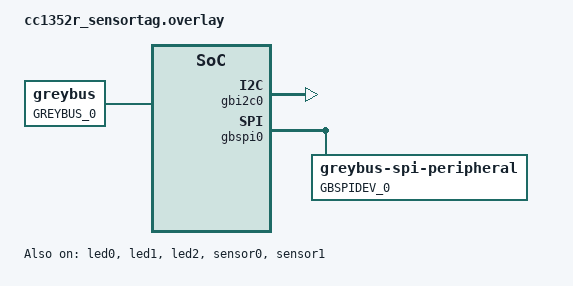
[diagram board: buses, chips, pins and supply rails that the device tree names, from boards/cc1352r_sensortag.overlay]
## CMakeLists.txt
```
# SPDX-License-Identifier: BSD-3-Clause

cmake_minimum_required(VERSION 3.13.1)
include($ENV{ZEPHYR_BASE}/cmake/app/boilerplate.cmake NO_POLICY_SCOPE)
project(greybus-uart)

zephyr_include_directories(../../../../../include)

target_sources(app PRIVATE src/main.c)
```

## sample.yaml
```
sample:
  description: Use Linux to blink an LED on a remote device using a serial
    connection
  name: Greybus UART Blinky Demo
tests:
  sample.greybus.uart:
    harness: greybus_uart
    platform_whitelist: qemu_x86 cc1352r1_launchxl nrf52840dk_nrf52840
    tags: greybus uart
  sample.greybus.uart.cc1352r1_launchxl:
    extra_args: OVERLAY_CONFIG="cc1352r1_launchxl.conf"
  sample.greybus.uart.nrf52840dk_nrf52840:
    extra_args: OVERLAY_CONFIG="nrf52840dk_nrf52840.conf"
```

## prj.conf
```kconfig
CONFIG_HEAP_MEM_POOL_SIZE=16384
CONFIG_NEWLIB_LIBC=y

# Serial (required for XPORT_UART)
CONFIG_SERIAL=y

# Greybus options and dependencies
CONFIG_GREYBUS=y
CONFIG_GREYBUS_CONTROL=y
CONFIG_GREYBUS_XPORT_UART=y
CONFIG_PTHREAD_IPC=y
CONFIG_PTHREAD_DYNAMIC_STACK=y
CONFIG_THREAD_NAME=y
CONFIG_MAX_PTHREAD_COUNT=16

# Console options
CONFIG_CONSOLE_SUBSYS=y
CONFIG_CONSOLE_GETCHAR=y

# Kernel options
CONFIG_MAIN_STACK_SIZE=1024
CONFIG_ENTROPY_GENERATOR=y
CONFIG_INIT_STACKS=y

# Logging
CONFIG_LOG=y
CONFIG_PRINTK=y

# Pthread options
CONFIG_MAX_PTHREAD_COUNT=16
CONFIG_RING_BUFFER=y
```

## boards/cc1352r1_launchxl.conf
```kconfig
CONFIG_GPIO=y
CONFIG_GREYBUS_GPIO=y

CONFIG_I2C=y
CONFIG_GREYBUS_I2C=y

CONFIG_GREYBUS_XPORT_UART_DEV="UART_1"
```

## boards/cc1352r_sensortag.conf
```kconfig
CONFIG_GPIO=y
CONFIG_I2C=y
CONFIG_GREYBUS_I2C=y
CONFIG_SPI=y
CONFIG_GREYBUS_SPI=y
CONFIG_SPI_0=y
```

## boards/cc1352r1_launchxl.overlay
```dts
/*
 * Copyright (c) 2020 Friedt Professional Engineering Services, Inc
 *
 * SPDX-License-Identifier: BSD-3-Clause
 */
 #include <dt-bindings/greybus/greybus.h>
 #include <dt-bindings/greybus/spi.h>

/ {
	resources {
		compatible = "test,greybus-i2c";
		test-i2c = <&i2c0>; 
	};

	greybus0: greybus0 {
		compatible = "zephyr,greybus";
		label = "GREYBUS_0";
		greybus;
	};
};

&flash0 {
	status = "okay";
};

&led0 {
	status = "okay";
};

&led1 {
	status = "okay";
};

&greybus0 {
	status = "okay";
	/* defaults in effect, so this isn't necessary */
	version-major = <GREYBUS_VERSION_MAJOR>;
	version-minor = <GREYBUS_VERSION_MINOR>;

	gbstring1: gbstring1 {
		status = "okay";
		compatible = "zephyr,greybus-string";
		/* NB: string id 0 is invalid */
		id = <1>;
		greybus-string = "Zephyr Project RTOS";
	};

	gbstring2: gbstring2 {
		status = "okay";
		compatible = "zephyr,greybus-string";
		id = <2>;
		greybus-string = "Greybus Service Sample Application";
	};

	gbinterface0 {
		status = "okay";
		compatible = "zephyr,greybus-interface";
		vendor-string-id = <&gbstring1>;
		product-string-id = <&gbstring2>;
		greybus-interface;
	};

	gbbundle0 {
		status = "okay";
		compatible = "zephyr,greybus-bundle";
		greybus-bundle;
		/* Control Bundle 0
		 * Note: control bundle 0 and control cport 0 are optional
		 * Since instance numbers automatically begin at 0, the id
		 * is a mandatory field for bundles and cports.
		 */
		id = <CONTROL_BUNDLE_ID>;
		bundle-class = <BUNDLE_CLASS_CONTROL>;

		gbcontrol0 {
			status = "okay";
			compatible = "zephyr,greybus-control";
			greybus-controller;
			/* Control CPort 0
			 * Note: control bundle 0 and control cport 0 are optional
			 * Since instance numbers automatically begin at 0, the id
			 * is a mandatory field for bundles and cports.
			 */
			id = <CONTROL_CPORT_ID>;
			cport-protocol = <CPORT_PROTOCOL_CONTROL>; 
		};
	};

	gbbundle1 {
		status = "okay";
		compatible = "zephyr,greybus-bundle";
		greybus-bundle;
		id = <1>;
		bundle-class = <BUNDLE_CLASS_BRIDGED_PHY>;		
				
		gbgpio0 {
			status = "okay";
			compatible = "zephyr,greybus-gpio-controller";
			greybus-gpio-controller = <&gpio0>;
			/* GPIO is CPort 1 in this case */
			id = <1>;
			cport-protocol = <CPORT_PROTOCOL_GPIO>;
		};
	};
	
	gbbundle2 {
		status = "okay";
		compatible = "zephyr,greybus-bundle";
		greybus-bundle;
		id = <2>;
		bundle-class = <BUNDLE_CLASS_BRIDGED_PHY>;		
				
		gbi2c0 {
			status = "okay";
			compatible = "zephyr,greybus-i2c-controller";
			greybus-i2c-controller = <&i2c0>;
			/* I2C is CPort 2 in this case */
			id = <2>;
			cport-protocol = <CPORT_PROTOCOL_I2C>;
		};
	};
	
};
```

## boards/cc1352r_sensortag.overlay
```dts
/*
 * Copyright (c) 2020 Friedt Professional Engineering Services, Inc
 *
 * SPDX-License-Identifier: BSD-3-Clause
 */
 #include <dt-bindings/greybus/greybus.h>
 #include <dt-bindings/greybus/spi.h>

/ {
	resources {
		compatible = "test,greybus-i2c";
		test-i2c = <&i2c0>; 
	};

	greybus0: greybus0 {
		compatible = "zephyr,greybus";
		label = "GREYBUS_0";
		greybus;
	};
};

&flash0 {
	status = "okay";
};

&led0 {
	status = "okay";
};

&led1 {
	status = "okay";
};

&led2 {
	status = "okay";
};

&sensor0 {
	status = "okay";
};

&sensor1 {
	status = "okay";
};

&greybus0 {
	label = "GREYBUS_0";
	status = "okay";
	/* defaults in effect, so this isn't necessary */
	version-major = <GREYBUS_VERSION_MAJOR>;
	version-minor = <GREYBUS_VERSION_MINOR>;

	gbstring1: gbstring1 {
		label = "GBSTRING_1";
		status = "okay";
		compatible = "zephyr,greybus-string";
		/* NB: string id 0 is invalid */
		id = <1>;
		greybus-string = "Zephyr Project RTOS";
	};

	gbstring2: gbstring2 {
		label = "GBSTRING_2";
		status = "okay";
		compatible = "zephyr,greybus-string";
		id = <2>;
		greybus-string = "Greybus Service Sample Application";
	};

	gbinterface0 {
		label = "GBINTERFACE_0";
		status = "okay";
		compatible = "zephyr,greybus-interface";
		vendor-string-id = <&gbstring1>;
		product-string-id = <&gbstring2>;
		greybus-interface;
	};

	gbbundle0 {
		label = "GBBUNDLE_0";
		status = "okay";
		compatible = "zephyr,greybus-bundle";
		greybus-bundle;
		/* Control Bundle 0
		 * Note: control bundle 0 and control cport 0 are optional
		 * Since instance numbers automatically begin at 0, the id
		 * is a mandatory field for bundles and cports.
		 */
		id = <CONTROL_BUNDLE_ID>;
		bundle-class = <BUNDLE_CLASS_CONTROL>;

		gbcontrol0 {
			label = "GBCONTROL_0";
			status = "okay";
			compatible = "zephyr,greybus-control";
			greybus-controller;
			/* Control CPort 0
			 * Note: control bundle 0 and control cport 0 are optional
			 * Since instance numbers automatically begin at 0, the id
			 * is a mandatory field for bundles and cports.
			 */
			id = <CONTROL_CPORT_ID>;
			cport-protocol = <CPORT_PROTOCOL_CONTROL>; 
		};
	};

	gbbundle1 {
		label = "GBBUNDLE_1";
		status = "okay";
		compatible = "zephyr,greybus-bundle";
		greybus-bundle;
		id = <1>;
		bundle-class = <BUNDLE_CLASS_BRIDGED_PHY>;		
				
		gbgpio0 {
			label = "GBGPIO_0";
			status = "okay";
			compatible = "zephyr,greybus-gpio-controller";
			greybus-gpio-controller = <&gpio0>;
			/* GPIO is CPort 1 in this case */
			id = <1>;
			cport-protocol = <CPORT_PROTOCOL_GPIO>;
		};
	};
	
	gbbundle2 {
		label = "GBBUNDLE_2";
		status = "okay";
		compatible = "zephyr,greybus-bundle";
		greybus-bundle;
		id = <2>;
		bundle-class = <BUNDLE_CLASS_BRIDGED_PHY>;		
				
		gbi2c0 {
			label = "GBI2C_0";
			status = "okay";
			compatible = "zephyr,greybus-i2c-controller";
			greybus-i2c-controller = <&i2c0>;
			/* I2C is CPort 2 in this case */
			id = <2>;
			cport-protocol = <CPORT_PROTOCOL_I2C>;
		};
	};
	
	gbbundle3 {
		label = "GBBUNDLE_3";
		status = "okay";
		compatible = "zephyr,greybus-bundle";
		greybus-bundle;
		id = <3>;
		bundle-class = <BUNDLE_CLASS_BRIDGED_PHY>;		
				
		gbspi0 {
			label = "GBSPI_0";
			status = "okay";
			compatible = "zephyr,greybus-spi-controller";
			greybus-spi-controller = <&spi0>;
			/* SPI is CPort 3 in this case */
			id = <3>;
			cport-protocol = <CPORT_PROTOCOL_SPI>;

			/*
			 * Entries for struct gb_spi_master_config_response
			 */
			bpw-mask = <0xff>;
			min-speed-hz = <2000000>;
			max-speed-hz = <6000000>;			
			mode = <0>;
			flags = <0>;

			gbspidev0 {
				label = "GBSPIDEV_0";
				status = "okay";
				compatible = "zephyr,greybus-spi-peripheral";
				/* cs is used as an array index */				
				cs = <0>;
				
				/*
				 * Entries for struct gb_spi_device_config_response
				 */
				mode = <0>;
				bpw = <8>;
				max-speed-hz = <8000000>;
				device-type = <GB_SPI_SPI_DEV>;
				device-name = "ADXL362";
			};
		};
	};
};
```

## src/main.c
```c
/*
 * Copyright (c) 2109 Friedt Professional Engineering Services, Inc
 *
 * SPDX-License-Identifier: BSD-3-Clause
 */

#include <stdio.h>
#include <zephyr.h>

struct device;
extern int greybus_service_init(struct device *bus);

void main(void)
{
	int r = greybus_service_init(NULL);
	if (r < 0) {
		printf("gb_service_deferred_init() failed: %d\n", r);
	}
}
```
